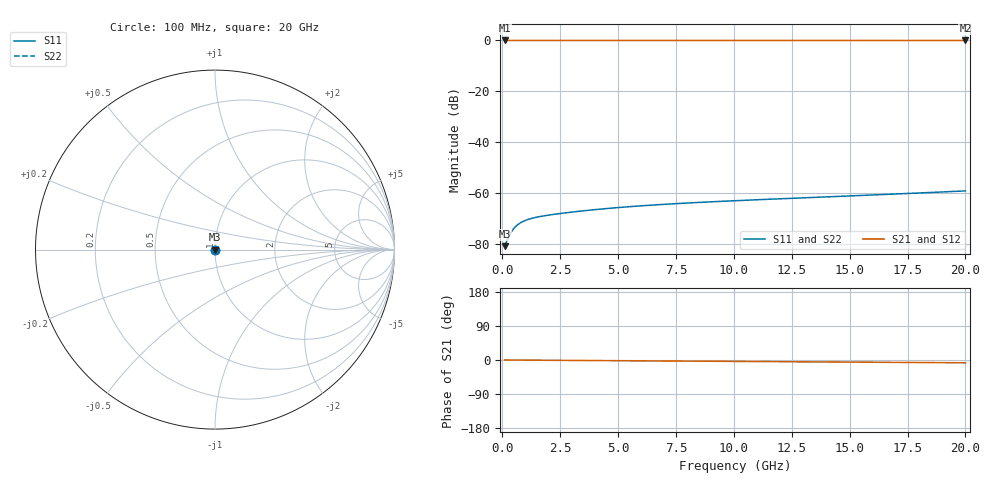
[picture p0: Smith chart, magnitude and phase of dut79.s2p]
! Touchstone file exported from HFSS 2026.1.0
!  File:  C:/ffzhzh/LocalFiles/Ansys_Project_Files/temp_train_TSV_79_1782959446_6388.aedt
!  Generated:  10:32:07 AM Jul  2, 2026
!  Design:  TSV
!  Project:  temp_train_TSV_79_1782959446_6388
! Variables:
!  h_bsmrdl = 2um
!  h_ox = 20um
!  h_rdl = 5um
!  h_sub = 71.62um
!  h_tmrdl = 5um
!  h_tsv = 71.62um
!  h_via = 3um
!  l_bsmrdl = 300um
!  l_sub = 425.2um
!  l_tmrdl = 200um
!  m_sub = 200um
!  pitch = 50.01um
!  r_tsv = 12.6um
!  s_tmrdl = 10um
!  w_bsmrdl = 18um
!  w_sub = 500um
!  w_tmrdl = 12um
!  x_tsv_center1 = 206um
!  x_tsv_center2 = 524um
!  x_tsv_center3 = 736um
!  x_tsv_center4 = 1054um
!  x_tsv_center5 = 1266um
!  x_tsv_center6 = 1584um
# GHz S MA R 50.000000
! Terminal data exported
! Port[1] = TSV1_1_T1
! Port[2] = TSV1_1_T2
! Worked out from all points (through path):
!   200 points, 100 MHz to 20 GHz, reference 50 ohm
!   highest |S21| = 0.00 dB at 100 MHz (marker M1); lowest = 0.0 dB at 20 GHz (marker M2)
!   group delay of S21, straight-line fit = 1.02 ps
!   lowest |S11| = -80.8 dB at 100 MHz (marker M3), VSWR 1.00, Z = 50 + j0.00352 ohm
!   |S11| at or under -10 dB: start of sweep to end of sweep
!   |S22| runs from -80.8 to -59.1 dB; largest |S21 - S12| = 3e-15
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0.1  9.073e-05 22.8  0.9999 -0.0  0.9999 -0.0  9.073e-05 22.8
! Gamma 0 0 0 0
! Port Impedance 50 0 50 0
0.2  0.0001165 35.5  0.9999 -0.1  0.9999 -0.1  0.0001165 35.5
0.3  0.0001468 40.4  0.9999 -0.1  0.9999 -0.1  0.0001468 40.4
0.4  0.0001762 41.7  0.9999 -0.2  0.9999 -0.2  0.0001762 41.7
0.5  0.000203 41.1  0.9998 -0.2  0.9998 -0.2  0.000203 41.2
0.6  0.0002263 39.9  0.9998 -0.2  0.9998 -0.2  0.0002263 39.9
0.7  0.0002465 38.4  0.9998 -0.3  0.9998 -0.3  0.0002465 38.4
0.8  0.0002638 36.8  0.9998 -0.3  0.9998 -0.3  0.0002638 36.8
1  0.0002916 34.0  0.9998 -0.4  0.9998 -0.4  0.0002917 34.0
1.3  0.000322 30.7  0.9997 -0.5  0.9997 -0.5  0.0003221 30.7
1.5  0.0003379 29.1  0.9997 -0.6  0.9997 -0.6  0.0003379 29.1
1.8  0.000358 27.2  0.9997 -0.7  0.9997 -0.7  0.000358 27.2
2.5  0.0003978 24.1  0.9996 -0.9  0.9996 -0.9  0.0003978 24.1
3.5  0.0004493 20.8  0.9996 -1.3  0.9996 -1.3  0.0004493 20.8
4.3  0.0004882 18.0  0.9995 -1.6  0.9995 -1.6  0.0004882 18.0
5.1  0.0005249 15.1  0.9995 -1.9  0.9995 -1.9  0.000525 15.1
6.8  0.0005954 8.6  0.9994 -2.5  0.9994 -2.5  0.0005954 8.6
8.3  0.0006504 2.9  0.9994 -3.1  0.9994 -3.1  0.0006505 2.9
10.1  0.0007115 -3.5  0.9993 -3.7  0.9993 -3.7  0.0007116 -3.5
13.4  0.0008224 -14.2  0.9992 -4.9  0.9992 -4.9  0.0008225 -14.2
16.7  0.0009485 -23.6  0.9991 -6.2  0.9991 -6.2  0.0009487 -23.6
20  0.001107 -32.1  0.999 -7.4  0.999 -7.4  0.001107 -32.1
